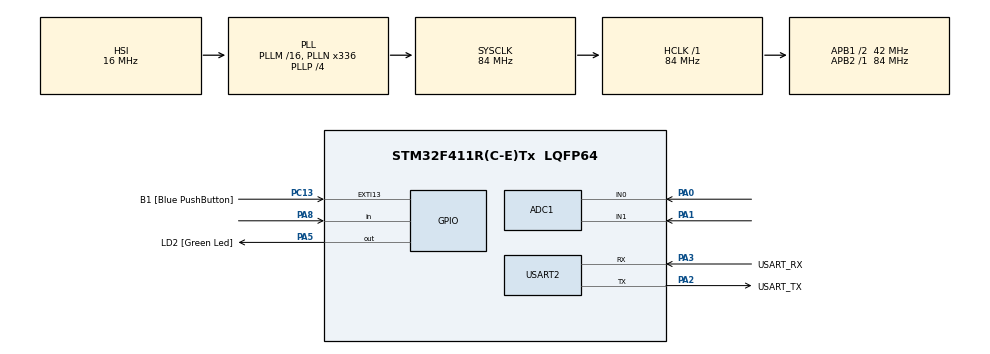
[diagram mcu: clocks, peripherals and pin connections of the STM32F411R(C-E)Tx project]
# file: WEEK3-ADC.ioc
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ADC1.Channel-0\#ChannelRegularConversion=ADC_CHANNEL_0
ADC1.NbrOfConversionFlag=1
ADC1.Rank-0\#ChannelRegularConversion=1
ADC1.SamplingTime-0\#ChannelRegularConversion=ADC_SAMPLETIME_3CYCLES
ADC1.master=1
Mcu.Family=STM32F4
Mcu.Name=STM32F411R(C-E)Tx
Mcu.Package=LQFP64
NVIC.PriorityGroup=NVIC_PRIORITYGROUP_0
PA0-WKUP.Signal=ADCx_IN0
PA1.Signal=ADCx_IN1
PA13.GPIO_Label=TMS
PA13.Mode=Serial_Wire
PA13.Signal=SYS_JTMS-SWDIO
PA14.GPIO_Label=TCK
PA14.Mode=Serial_Wire
PA14.Signal=SYS_JTCK-SWCLK
PA2.GPIO_Label=USART_TX
PA2.Mode=Asynchronous
PA2.Signal=USART2_TX
PA3.GPIO_Label=USART_RX
PA3.Mode=Asynchronous
PA3.Signal=USART2_RX
PA5.GPIO_Label=LD2 [Green Led]
PA5.Signal=GPIO_Output
PA8.Signal=GPIO_Input
PB3.GPIO_Label=SWO
PB3.Signal=SYS_JTDO-SWO
PC13-ANTI_TAMP.GPIO_Label=B1 [Blue PushButton]
PC13-ANTI_TAMP.GPIO_ModeDefaultEXTI=GPIO_MODE_IT_FALLING
PC13-ANTI_TAMP.Signal=GPXTI13
PC14-OSC32_IN.Mode=LSE-External-Oscillator
PC14-OSC32_IN.Signal=RCC_OSC32_IN
PC15-OSC32_OUT.Mode=LSE-External-Oscillator
PC15-OSC32_OUT.Signal=RCC_OSC32_OUT
PH0\ -\ OSC_IN.Mode=HSE-External-Clock-Source
PH0\ -\ OSC_IN.Signal=RCC_OSC_IN
PH1\ -\ OSC_OUT.Mode=HSE-External-Clock-Source
PH1\ -\ OSC_OUT.Signal=RCC_OSC_OUT
ProjectManager.HeapSize=0x200
ProjectManager.StackSize=0x400
ProjectManager.TargetToolchain=STM32CubeIDE
RCC.48MHZClocksFreq_Value=84000000
RCC.AHBFreq_Value=84000000
RCC.APB1CLKDivider=RCC_HCLK_DIV2
RCC.APB1Freq_Value=42000000
RCC.APB1TimFreq_Value=84000000
RCC.APB2Freq_Value=84000000
RCC.APB2TimFreq_Value=84000000
RCC.CortexFreq_Value=84000000
RCC.FLatency-AdvancedSettings=FLASH_LATENCY_2
RCC.HCLKFreq_Value=84000000
RCC.HSE_VALUE=8000000
RCC.HSI_VALUE=16000000
RCC.PLLN=336
RCC.PLLP=RCC_PLLP_DIV4
RCC.SYSCLKFreq_VALUE=84000000
RCC.SYSCLKSource=RCC_SYSCLKSOURCE_PLLCLK
RCC.VCOOutputFreq_Value=336000000
SH.ADCx_IN0.0=ADC1_IN0,IN0
SH.ADCx_IN1.0=ADC1_IN1,IN1
USART2.VirtualMode=VM_ASYNC
VP_ADC1_TempSens_Input.Mode=IN-TempSens
board=NUCLEO-F411RE

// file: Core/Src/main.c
/* USER CODE BEGIN Header */
/**
 ******************************************************************************
 * @file           : main.c
 * @brief          : Main program body
 ******************************************************************************
 * @attention
 *
 * <h2><center>&copy; Copyright (c) 2021 STMicroelectronics.
 * All rights reserved.</center></h2>
 *
 * This software component is licensed by ST under BSD 3-Clause license,
 * the "License"; You may not use this file except in compliance with the
 * License. You may obtain a copy of the License at:
 *                        opensource.org/licenses/BSD-3-Clause
 *
 ******************************************************************************
 */
/* USER CODE END Header */
#include "main.h"

ADC_HandleTypeDef hadc1;

UART_HandleTypeDef huart2;

/* USER CODE BEGIN PV */
uint16_t adcdata[2] = { 0 };
GPIO_PinState SwitchState[2];
uint32_t ButtonTimeStamp = 0;
uint8_t ADCMode = 0;
float ADCOutputConverted =0;

typedef struct {
	ADC_ChannelConfTypeDef Config;
	uint16_t data;
} ADCStructure;

ADCStructure ADCChannel[2] = { 0 };

/* USER CODE END PV */

void SystemClock_Config(void);
static void MX_GPIO_Init(void);
static void MX_USART2_UART_Init(void);
static void MX_ADC1_Init(void);
/* USER CODE BEGIN PFP */
void ADCPollingMethodInit();
void ADCPollingMethodUpdate();
/* USER CODE END PFP */

int main(void)
{

  /* MCU Configuration--------------------------------------------------------*/

  /* Reset of all peripherals, Initializes the Flash interface and the Systick. */
  HAL_Init();

  /* Configure the system clock */
  SystemClock_Config();

  /* Initialize all configured peripherals */
  MX_GPIO_Init();
  MX_USART2_UART_Init();
  MX_ADC1_Init();
  /* USER CODE BEGIN 2 */
	ADCPollingMethodInit();

  /* USER CODE END 2 */

  /* Infinite loop */
	while (1) {

    /* USER CODE BEGIN 3 */

		ADCPollingMethodUpdate();
		if (HAL_GetTick() - ButtonTimeStamp >= 50) //ms
				{
			ButtonTimeStamp = HAL_GetTick();
			SwitchState[0] = HAL_GPIO_ReadPin(GPIOA, GPIO_PIN_8);
			if (SwitchState[1] == GPIO_PIN_SET
					&& SwitchState[0] == GPIO_PIN_RESET) {
				if (ADCMode == 0) {
					ADCMode = 1;
				} else if (ADCMode == 1) {
					ADCMode = 0;
				}
			}
			SwitchState[1] = SwitchState[0];
		}
		if (ADCMode == 0) {
			ADCOutputConverted = (ADCChannel[0].data/4096.0)*3.3*1000;//0-4096 ---> 0-3.3 read ?
		}
		if (ADCMode == 1) { //from datasheet v25=0.76v avg_slope=2.5
			ADCOutputConverted = ((((ADCChannel[1].data/4096.0)*3.3*1000)-0.76*1000)/2.5)+25;
		}
	}
  /* USER CODE END 3 */
}

void SystemClock_Config(void)
{
  RCC_OscInitTypeDef RCC_OscInitStruct = {0};
  RCC_ClkInitTypeDef RCC_ClkInitStruct = {0};

  /** Configure the main internal regulator output voltage
  */
  __HAL_RCC_PWR_CLK_ENABLE();
  __HAL_PWR_VOLTAGESCALING_CONFIG(PWR_REGULATOR_VOLTAGE_SCALE1);
  /** Initializes the RCC Oscillators according to the specified parameters
  * in the RCC_OscInitTypeDef structure.
  */
  RCC_OscInitStruct.OscillatorType = RCC_OSCILLATORTYPE_HSI;
  RCC_OscInitStruct.HSIState = RCC_HSI_ON;
  RCC_OscInitStruct.HSICalibrationValue = RCC_HSICALIBRATION_DEFAULT;
  RCC_OscInitStruct.PLL.PLLState = RCC_PLL_ON;
  RCC_OscInitStruct.PLL.PLLSource = RCC_PLLSOURCE_HSI;
  RCC_OscInitStruct.PLL.PLLM = 16;
  RCC_OscInitStruct.PLL.PLLN = 336;
  RCC_OscInitStruct.PLL.PLLP = RCC_PLLP_DIV4;
  RCC_OscInitStruct.PLL.PLLQ = 4;
  if (HAL_RCC_OscConfig(&RCC_OscInitStruct) != HAL_OK)
  {
    Error_Handler();
  }
  /** Initializes the CPU, AHB and APB buses clocks
  */
  RCC_ClkInitStruct.ClockType = RCC_CLOCKTYPE_HCLK|RCC_CLOCKTYPE_SYSCLK
                              |RCC_CLOCKTYPE_PCLK1|RCC_CLOCKTYPE_PCLK2;
  RCC_ClkInitStruct.SYSCLKSource = RCC_SYSCLKSOURCE_PLLCLK;
  RCC_ClkInitStruct.AHBCLKDivider = RCC_SYSCLK_DIV1;
  RCC_ClkInitStruct.APB1CLKDivider = RCC_HCLK_DIV2;
  RCC_ClkInitStruct.APB2CLKDivider = RCC_HCLK_DIV1;

  if (HAL_RCC_ClockConfig(&RCC_ClkInitStruct, FLASH_LATENCY_2) != HAL_OK)
  {
    Error_Handler();
  }
}

static void MX_ADC1_Init(void)
{

  ADC_ChannelConfTypeDef sConfig = {0};

  /** Configure the global features of the ADC (Clock, Resolution, Data Alignment and number of conversion)
  */
  hadc1.Instance = ADC1;
  hadc1.Init.ClockPrescaler = ADC_CLOCK_SYNC_PCLK_DIV4;
  hadc1.Init.Resolution = ADC_RESOLUTION_12B;
  hadc1.Init.ScanConvMode = DISABLE;
  hadc1.Init.ContinuousConvMode = DISABLE;
  hadc1.Init.DiscontinuousConvMode = DISABLE;
  hadc1.Init.ExternalTrigConvEdge = ADC_EXTERNALTRIGCONVEDGE_NONE;
  hadc1.Init.ExternalTrigConv = ADC_SOFTWARE_START;
  hadc1.Init.DataAlign = ADC_DATAALIGN_RIGHT;
  hadc1.Init.NbrOfConversion = 1;
  hadc1.Init.DMAContinuousRequests = DISABLE;
  hadc1.Init.EOCSelection = ADC_EOC_SINGLE_CONV;
  if (HAL_ADC_Init(&hadc1) != HAL_OK)
  {
    Error_Handler();
  }
  /** Configure for the selected ADC regular channel its corresponding rank in the sequencer and its sample time.
  */
  sConfig.Channel = ADC_CHANNEL_0;
  sConfig.Rank = 1;
  sConfig.SamplingTime = ADC_SAMPLETIME_3CYCLES;
  if (HAL_ADC_ConfigChannel(&hadc1, &sConfig) != HAL_OK)
  {
    Error_Handler();
  }

}

static void MX_USART2_UART_Init(void)
{

  huart2.Instance = USART2;
  huart2.Init.BaudRate = 115200;
  huart2.Init.WordLength = UART_WORDLENGTH_8B;
  huart2.Init.StopBits = UART_STOPBITS_1;
  huart2.Init.Parity = UART_PARITY_NONE;
  huart2.Init.Mode = UART_MODE_TX_RX;
  huart2.Init.HwFlowCtl = UART_HWCONTROL_NONE;
  huart2.Init.OverSampling = UART_OVERSAMPLING_16;
  if (HAL_UART_Init(&huart2) != HAL_OK)
  {
    Error_Handler();
  }

}

static void MX_GPIO_Init(void)
{
  GPIO_InitTypeDef GPIO_InitStruct = {0};

  /* GPIO Ports Clock Enable */
  __HAL_RCC_GPIOC_CLK_ENABLE();
  __HAL_RCC_GPIOH_CLK_ENABLE();
  __HAL_RCC_GPIOA_CLK_ENABLE();
  __HAL_RCC_GPIOB_CLK_ENABLE();

  /*Configure GPIO pin Output Level */
  HAL_GPIO_WritePin(LD2_GPIO_Port, LD2_Pin, GPIO_PIN_RESET);

  /*Configure GPIO pin : B1_Pin */
  GPIO_InitStruct.Pin = B1_Pin;
  GPIO_InitStruct.Mode = GPIO_MODE_IT_FALLING;
  GPIO_InitStruct.Pull = GPIO_NOPULL;
  HAL_GPIO_Init(B1_GPIO_Port, &GPIO_InitStruct);

  /*Configure GPIO pin : LD2_Pin */
  GPIO_InitStruct.Pin = LD2_Pin;
  GPIO_InitStruct.Mode = GPIO_MODE_OUTPUT_PP;
  GPIO_InitStruct.Pull = GPIO_NOPULL;
  GPIO_InitStruct.Speed = GPIO_SPEED_FREQ_LOW;
  HAL_GPIO_Init(LD2_GPIO_Port, &GPIO_InitStruct);

  /*Configure GPIO pin : PA8 */
  GPIO_InitStruct.Pin = GPIO_PIN_8;
  GPIO_InitStruct.Mode = GPIO_MODE_INPUT;
  GPIO_InitStruct.Pull = GPIO_NOPULL;
  HAL_GPIO_Init(GPIOA, &GPIO_InitStruct);

}

/* USER CODE BEGIN 4 */
void ADCPollingMethodInit() {
	//config all ADC Channel
	ADCChannel[0].Config.Channel = ADC_CHANNEL_0;
	ADCChannel[0].Config.Rank = 1;
	ADCChannel[0].Config.SamplingTime = ADC_SAMPLETIME_3CYCLES;

	ADCChannel[1].Config.Channel = ADC_CHANNEL_TEMPSENSOR;
	ADCChannel[1].Config.Rank = 1;
	ADCChannel[1].Config.SamplingTime = ADC_SAMPLETIME_3CYCLES;
}
//Polling Method
void ADCPollingMethodUpdate() {
	//Read all 3 Channel
	for (int i = 0; i < 2; i++) {
		HAL_ADC_ConfigChannel(&hadc1, &ADCChannel[i].Config);
		HAL_ADC_Start(&hadc1);
		if (HAL_ADC_PollForConversion(&hadc1, 10) == HAL_OK) {
			ADCChannel[i].data = HAL_ADC_GetValue(&hadc1);
		}
		HAL_ADC_Stop(&hadc1);
	}
}
/* USER CODE END 4 */

void Error_Handler(void)
{
	__disable_irq();
	while (1) {
	}
}

/************************ (C) COPYRIGHT STMicroelectronics *****END OF FILE****/
